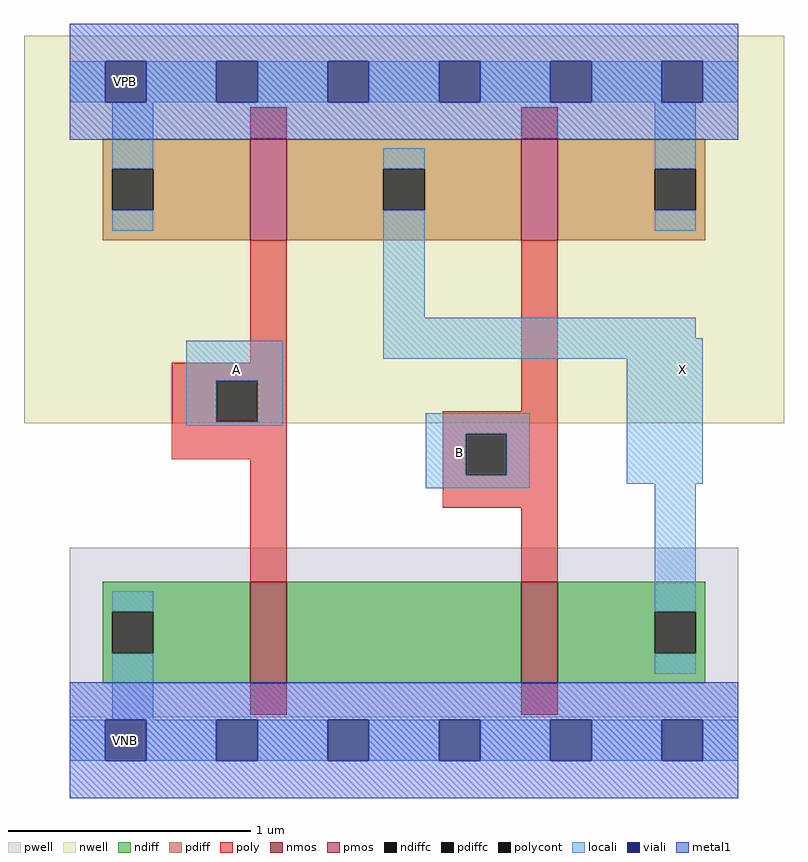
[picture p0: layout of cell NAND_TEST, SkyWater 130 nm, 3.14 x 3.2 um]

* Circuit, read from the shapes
.subckt NAND_TEST VPB VPWR VNB VGND A B X
XM1 n1 A VGND VNB sky130_fd_pr__nfet_01v8 w=0.42 l=0.15
XM2 X B n1 VNB sky130_fd_pr__nfet_01v8 w=0.42 l=0.15
XM3 X A VPWR VPB sky130_fd_pr__pfet_01v8 w=0.42 l=0.15
XM4 VPWR B X VPB sky130_fd_pr__pfet_01v8 w=0.42 l=0.15
.ends

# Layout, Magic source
magic
tech sky130B
magscale 1 2
<< nwell >>
rect -38 262 590 582
<< pwell >>
rect 0 19 552 159
rect 29 -17 63 19
<< nmos >>
rect 149 47 179 131
rect 373 47 403 131
<< pmos >>
rect 149 413 179 497
rect 373 413 403 497
<< ndiff >>
rect 27 106 149 131
rect 27 72 35 106
rect 69 72 149 106
rect 27 47 149 72
rect 179 47 373 131
rect 403 106 525 131
rect 403 72 483 106
rect 517 72 525 106
rect 403 47 525 72
<< pdiff >>
rect 27 472 149 497
rect 27 438 35 472
rect 69 438 149 472
rect 27 413 149 438
rect 179 472 373 497
rect 179 438 259 472
rect 293 438 373 472
rect 179 413 373 438
rect 403 472 525 497
rect 403 438 483 472
rect 517 438 525 472
rect 403 413 525 438
<< ndiffc >>
rect 35 72 69 106
rect 483 72 517 106
<< pdiffc >>
rect 35 438 69 472
rect 259 438 293 472
rect 483 438 517 472
<< poly >>
rect 149 497 179 523
rect 373 497 403 523
rect 149 312 179 413
rect 84 297 179 312
rect 84 263 121 297
rect 155 263 179 297
rect 373 272 403 413
rect 84 232 179 263
rect 149 131 179 232
rect 308 253 403 272
rect 308 219 327 253
rect 361 219 403 253
rect 308 192 403 219
rect 373 131 403 192
rect 149 21 179 47
rect 373 21 403 47
<< polycont >>
rect 121 263 155 297
rect 327 219 361 253
<< locali >>
rect 0 527 29 561
rect 63 527 121 561
rect 155 527 213 561
rect 247 527 305 561
rect 339 527 397 561
rect 431 527 489 561
rect 523 527 552 561
rect 35 472 69 527
rect 35 421 69 438
rect 259 472 293 489
rect 259 349 293 438
rect 483 472 517 527
rect 483 421 517 438
rect 259 332 517 349
rect 96 297 176 330
rect 259 315 523 332
rect 96 263 121 297
rect 155 263 176 297
rect 96 260 176 263
rect 294 253 380 270
rect 294 219 327 253
rect 361 219 380 253
rect 294 208 380 219
rect 460 212 523 315
rect 35 106 69 123
rect 35 17 69 72
rect 483 106 517 212
rect 483 55 517 72
rect 0 -17 29 17
rect 63 -17 121 17
rect 155 -17 213 17
rect 247 -17 305 17
rect 339 -17 397 17
rect 431 -17 489 17
rect 523 -17 552 17
<< viali >>
rect 29 527 63 561
rect 121 527 155 561
rect 213 527 247 561
rect 305 527 339 561
rect 397 527 431 561
rect 489 527 523 561
rect 29 -17 63 17
rect 121 -17 155 17
rect 213 -17 247 17
rect 305 -17 339 17
rect 397 -17 431 17
rect 489 -17 523 17
<< metal1 >>
rect 0 561 552 592
rect 0 527 29 561
rect 63 527 121 561
rect 155 527 213 561
rect 247 527 305 561
rect 339 527 397 561
rect 431 527 489 561
rect 523 527 552 561
rect 0 496 552 527
rect 0 17 552 48
rect 0 -17 29 17
rect 63 -17 121 17
rect 155 -17 213 17
rect 247 -17 305 17
rect 339 -17 397 17
rect 431 -17 489 17
rect 523 -17 552 17
rect 0 -48 552 -17
<< labels >>
flabel nwell 29 527 63 561 0 FreeSans 240 0 0 0 VPB
port 1 nsew power bidirectional
flabel metal1 29 527 63 561 0 FreeSans 240 0 0 0 VPWR
port 2 nsew
flabel pwell 29 -17 63 17 0 FreeSans 240 0 0 0 VNB
port 3 nsew ground bidirectional
flabel metal1 29 -17 63 17 0 FreeSans 240 0 0 0 VGND
port 4 nsew
flabel locali 121 289 155 323 0 FreeSans 240 0 0 0 A
port 5 nsew signal input
flabel locali 305 221 339 255 0 FreeSans 240 0 0 0 B
port 6 nsew signal output
flabel locali 489 289 523 323 0 FreeSans 240 0 0 0 X
port 7 nsew signal input
<< properties >>
string FIXED_BBOX 0 0 552 544
<< end >>
